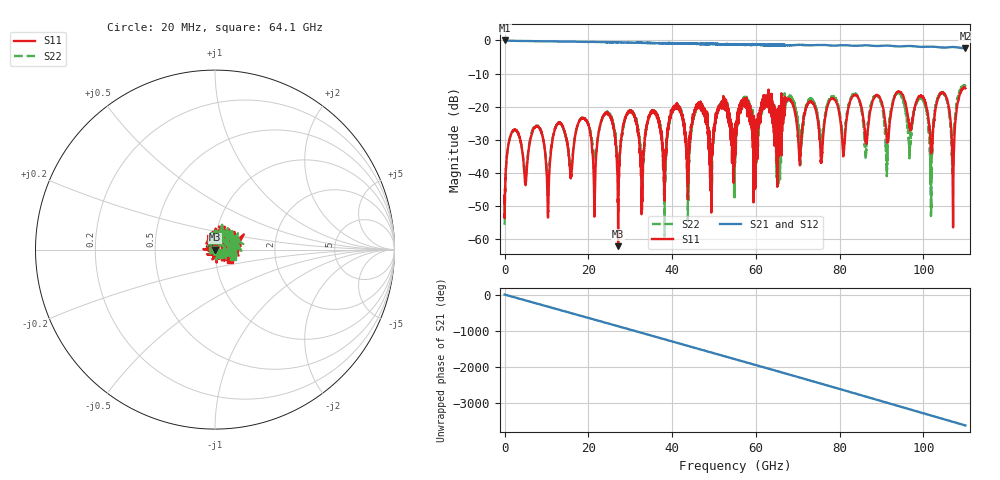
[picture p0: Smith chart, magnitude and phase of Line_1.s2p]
#  HZ  S  RI  R  50.00
! Rohde & Schwarz ZVA67 4Ports - Version 4.11 - 1305.7002k04 SN: 101032
! Date: 2026-02-18 15:09:32
! Measurements: S11 S21 S12 S22
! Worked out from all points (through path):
!   5500 points, 20 MHz to 110 GHz, reference 50 ohm
!   highest |S21| = 0.01 dB at 20 MHz (marker M1); lowest = -2.4 dB at 110 GHz (marker M2)
!   group delay of S21, straight-line fit = 91.5 ps
!   lowest |S11| = -62.1 dB at 27.12 GHz (marker M3), VSWR 1.00, Z = 49.9 + j0.00237 ohm
!   |S11| at or under -10 dB: start of sweep to end of sweep
!   |S22| runs from -59.1 to -13.4 dB; largest |S21 - S12| = 0.048
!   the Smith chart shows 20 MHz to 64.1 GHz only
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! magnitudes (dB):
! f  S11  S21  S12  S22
! 20 MHz  -52.3  0.0  0.0  -55.6
! 2.06 GHz  -27.2  -0.1  -0.1  -27.3
! 10.38 GHz  -53.5  -0.3  -0.3  -43.0
! 18.36 GHz  -23.6  -0.4  -0.4  -23.4
! 21.46 GHz  -52.8  -0.4  -0.4  -35.0
! 25.04 GHz  -22.6  -0.5  -0.5  -22.2
! 27.12 GHz  -62.1  -0.5  -0.5  -37.7
! 29.46 GHz  -21.6  -0.7  -0.6  -21.7
! 32.78 GHz  -47.6  -0.7  -0.7  -41.5
! 36.68 GHz  -23.7  -0.8  -0.8  -23.8
! 38.14 GHz  -41.2  -0.8  -0.8  -49.5
! 41.06 GHz  -19.4  -0.9  -0.9  -19.7
! 43.8 GHz  -41.0  -0.9  -0.9  -48.7
! 46.44 GHz  -19.7  -1.1  -1.0  -20.2
! 55.02 GHz  -33.3  -1.2  -1.1  -32.5
! 73.34 GHz  -18.5  -1.4  -1.4  -17.9
! 91.68 GHz  -28.7  -1.5  -1.6  -26.7
! 99.48 GHz  -16.7  -1.9  -1.9  -17.3
! 101.8 GHz  -34.1  -1.9  -1.8  -53.0
! 104.7 GHz  -15.8  -2.1  -2.1  -15.9
! 107.1 GHz  -56.4  -2.0  -1.9  -33.6
! 110 GHz  -14.4  -2.4  -2.4  -13.9
